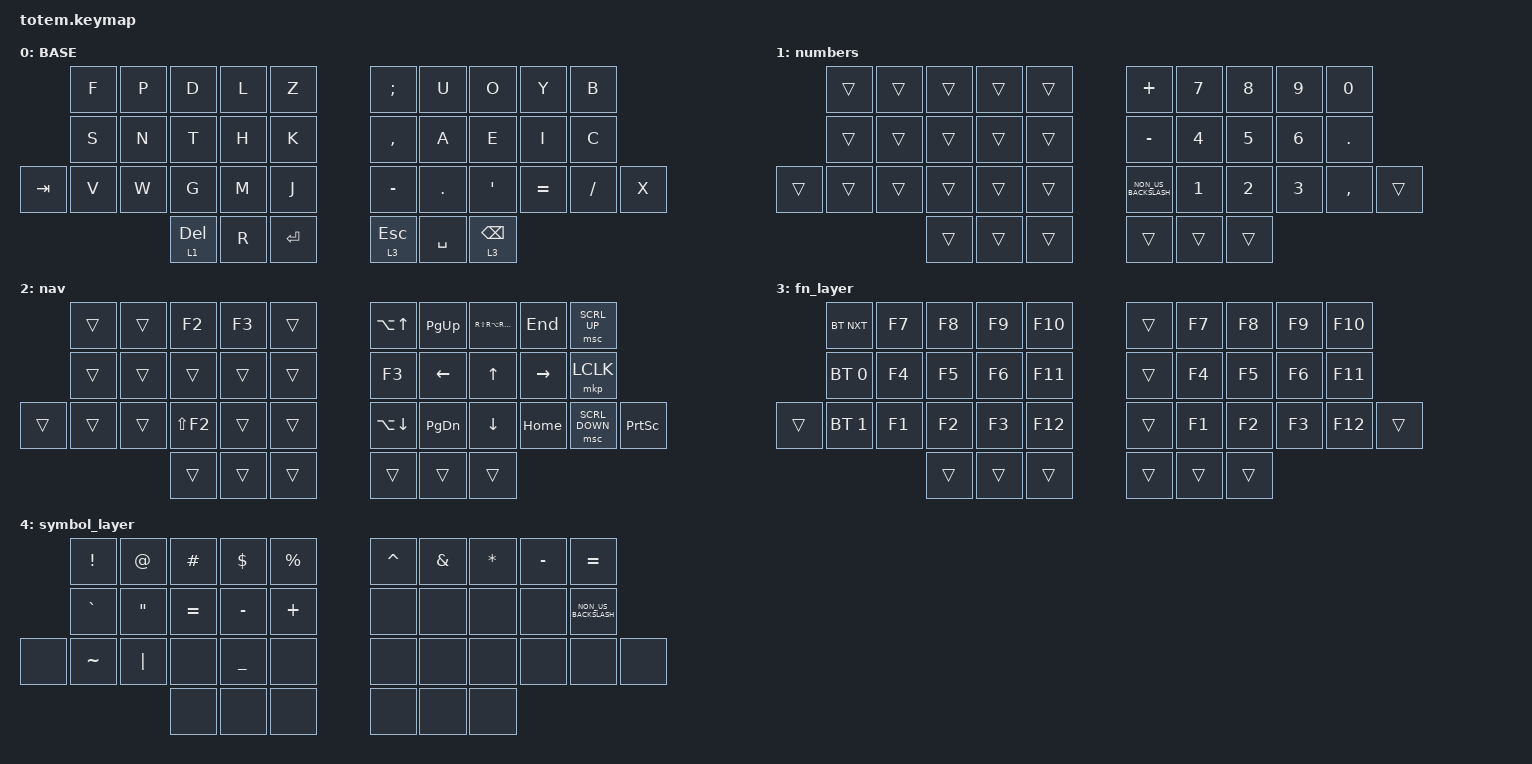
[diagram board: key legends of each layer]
//
//                                                        ▀▀▀▀▀     ▀▀▀▀▀          ▀▀█▀▀
//                                                        ▄▀▀▀▄  ▄  ▄▀▀▀▄  ▄  ▄▀▀▀▄  █  ▄▀▀▀▄
//                                                        █   █  █  █   █  █  █   █  █  █   █
//                                                         ▀▀▀   █   ▀▀▀   █   ▀▀▀   ▀   ▀▀▀
//                                                               █      ▄▄▄█▄▄▄    █   █  
//                                                               ▀      █  █  █     █▄█
//                                                             ▀▀▀▀▀    █  █  █      ▀
//                                                                      ▀  ▀  ▀
//
// ▄▄▄▄▄▄▄▄▄▄▄▄▄▄▄▄▄▄▄▄▄▄▄▄▄▄▄▄▄▄▄▄▄▄▄▄▄▄▄▄▄▄▄▄▄▄▄▄▄▄▄▄▄▄▄▄▄▄▄▄▄▄▄▄▄▄▄▄▄▄▄▄▄▄▄▄▄▄▄▄▄▄▄▄▄▄▄▄▄▄▄▄▄▄▄▄▄▄▄▄▄▄▄▄▄▄▄▄▄▄▄▄▄▄▄▄▄▄▄▄▄▄▄▄▄▄▄▄▄▄▄▄▄▄▄▄▄▄▄▄▄▄▄▄▄▄▄▄▄
// LGUI -> COMMAND
// LALT -> OPTION

#include <behaviors.dtsi>
#include <dt-bindings/zmk/bt.h>
#include <dt-bindings/zmk/keys.h>
#include <dt-bindings/zmk/pointing.h>
#include <dt-bindings/zmk/pointing.h>

#define BASE 0
#define NAV  1
#define SYM  2
#define ADJ  3
#define TVP1 4
#define TVP2 5
#define ZMK_POINTING_DEFAULT_SCRL_VAL 20

&mt {
    quick-tap-ms = <175>;
    global-quick-tap;
    flavor = "balanced";
    tapping-term-ms = <280>;
    require-prior-idle-ms = <150>;
};

/ {
    combos {
        compatible = "zmk,combos";

        left_parenthesis {
            bindings = <&l_par_r>;
            key-positions = <6 16>;
            layers = <0>;
        };

        right_parenthesis {
            bindings = <&kp SQT>;
            key-positions = <8 18>;
            layers = <0>;
        };

        left_bracket {
            bindings = <&l_brace_r>;
            key-positions = <16 27>;
            layers = <0>;
        };

        right_bracket {
            bindings = <&l_bracket_r>;
            key-positions = <18 29>;
            layers = <0>;
        };

        underscore {
            bindings = <&kp MINUS>;
            key-positions = <9 19>;
            layers = <0>;
        };

        or_char {
            bindings = <&kp EQUAL>;
            key-positions = <17 28>;
            layers = <0 1>;
        };

        at_sign {
            bindings = <&kp AT_SIGN>;
            key-positions = <1 11>;
            layers = <0>;
        };

        exclamation {
            bindings = <&kp EXCLAMATION>;
            key-positions = <0 10>;
            layers = <0>;
        };

        hash {
            bindings = <&kp HASH>;
            key-positions = <2 12>;
            layers = <0>;
        };

        dollar {
            bindings = <&kp DOLLAR>;
            key-positions = <3 13>;
            layers = <0>;
        };

        percent {
            bindings = <&kp PERCENT>;
            key-positions = <4 14>;
            layers = <0>;
        };

        copy {
            bindings = <&kp LG(C)>;
            key-positions = <12 23>;
            layers = <0>;
        };

        paste {
            bindings = <&kp LG(V)>;
            key-positions = <13 24>;
            layers = <0>;
        };

        star {
            bindings = <&kp STAR>;
            key-positions = <7 17>;
            layers = <0 1>;
        };

        idea_sequence {
            bindings = <&kp RS(RA(RC(RG(F))))>;
            key-positions = <16 17 18>;
        };

        undo {
            bindings = <&kp LG(Z)>;
            key-positions = <11 22>;
            layers = <0>;
        };

        idea_search {
            bindings = <&kp RS(RA(RC(RG(L))))>;
            key-positions = <13 12 11>;
        };
    };

    behaviors {
        l_par_r: l_par_r {
            compatible = "zmk,behavior-mod-morph";
            label = "L_PAR_R";
            bindings = <&kp LEFT_PARENTHESIS>, <&kp RIGHT_PARENTHESIS>;

            #binding-cells = <0>;
            mods = <(MOD_LSFT)>;
        };

        l_brace_r: l_brace_r {
            compatible = "zmk,behavior-mod-morph";
            label = "L_BRACE_R";
            bindings = <&kp LEFT_BRACE>, <&kp RIGHT_BRACE>;

            #binding-cells = <0>;
            mods = <(MOD_LSFT)>;
        };

        l_bracket_r: l_bracket_r {
            compatible = "zmk,behavior-mod-morph";
            label = "L_BRACKET_R";
            bindings = <&kp LEFT_BRACKET>, <&kp RIGHT_BRACKET>;

            #binding-cells = <0>;
            mods = <(MOD_LSFT)>;
        };
    };

    keymap {
        compatible = "zmk,keymap";

        // ▄▄▄▄▄▄▄▄▄▄▄▄▄▄▄▄▄▄▄▄▄▄▄▄▄▄▄▄▄▄▄▄▄▄▄▄▄▄▄▄▄▄▄▄▄▄▄▄▄▄▄▄▄▄▄▄▄▄▄▄▄▄▄▄▄▄▄▄▄▄▄▄▄▄▄▄▄▄▄▄▄▄▄▄▄▄▄▄▄▄▄▄▄▄▄▄▄▄▄▄▄▄▄▄▄▄▄▄▄▄▄▄▄▄▄▄▄▄▄▄▄▄▄▄▄▄▄▄▄▄▄▄▄▄▄▄▄▄▄▄▄▄▄▄▄▄▄▄▄

        base_layer {
            // ┏━━━━━━━━━━━━━━━━━━━━━━━━━━━━━━━━━━━━━━━┓

            label = "BASE";

            // ┗━━━━━━━━━━━━━━━━━━━━━━━━━━━━━━━━━━━━━━━┛
            //             ┏━━━━━━━━━━━┳━━━━━━━━━━━┳━━━━━━━━━━━┳━━━━━━━━━━━┳━━━━━━━━━━━┓   ┏━━━━━━━━━━━┳━━━━━━━━━━━┳━━━━━━━━━━━┳━━━━━━━━━━━┳━━━━━━━━━━━┓
            //             ┃     Q     ┃     W     ┃     E     ┃     R     ┃     T     ┃   ┃     Y     ┃     U     ┃     I     ┃     O     ┃     P     ┃
            //             ┣━━━━━━━━━━━╋━━━━━━━━━━━╋━━━━━━━━━━━╋━━━━━━━━━━━╋━━━━━━━━━━━┫   ┣━━━━━━━━━━━╋━━━━━━━━━━━╋━━━━━━━━━━━╋━━━━━━━━━━━╋━━━━━━━━━━━┫
            //             ┃     A     ┃     S     ┃     D     ┃     F     ┃     G     ┃   ┃     H     ┃     J     ┃     K     ┃     L     ┃     ;     ┃
            // ┏━━━━━━━━━━━╋━━━━━━━━━━━╋━━━━━━━━━━━╋━━━━━━━━━━━╋━━━━━━━━━━━╋━━━━━━━━━━━┫   ┣━━━━━━━━━━━╋━━━━━━━━━━━╋━━━━━━━━━━━╋━━━━━━━━━━━╋━━━━━━━━━━━╋━━━━━━━━━━━┓
            // ┃     Q     ┃     Z     ┃     X     ┃     C     ┃     V     ┃     B     ┃   ┃     N     ┃     M     ┃     ,     ┃     .     ┃     /     ┃     \     ┃
            // ┗━━━━━━━━━━━┻━━━━━━━━━━━┻━━━━━━━━━━━╋━━━━━━━━━━━╋━━━━━━━━━━━╋━━━━━━━━━━━┫   ┣━━━━━━━━━━━╋━━━━━━━━━━━╋━━━━━━━━━━━╋━━━━━━━━━━━┻━━━━━━━━━━━┻━━━━━━━━━━━┛
            //                                     ┃    DEL    ┃    TAB    ┃    SPC    ┃   ┃   ENTER   ┃    ESC    ┃   BSPC    ┃
            //                                     ┗━━━━━━━━━━━┻━━━━━━━━━━━┻━━━━━━━━━━━┛   ┗━━━━━━━━━━━┻━━━━━━━━━━━┻━━━━━━━━━━━┛

            bindings = <
         &kp F  &kp P  &kp D      &kp L  &kp Z      &kp SEMI      &kp U      &kp O            &kp Y      &kp B
         &kp S  &kp N  &kp T      &kp H  &kp K      &kp COMMA     &kp A      &kp E            &kp I      &kp C
&kp TAB  &kp V  &kp W  &kp G      &kp M  &kp J      &kp MINUS     &kp DOT    &kp SQT          &kp EQUAL  &kp FSLH  &kp X
                       &lt 1 DEL  &kp R  &kp RET    &lt 3 ESCAPE  &kp SPACE  &lt 3 BACKSPACE
            >;
        };

        numbers {
            bindings = <
        &trans  &trans  &trans  &trans  &trans    &kp PLUS              &kp N7  &kp N8  &kp N9  &kp N0
        &trans  &trans  &trans  &trans  &trans    &kp MINUS             &kp N4  &kp N5  &kp N6  &kp PERIOD
&trans  &trans  &trans  &trans  &trans  &trans    &kp NON_US_BACKSLASH  &kp N1  &kp N2  &kp N3  &kp COMMA   &trans
                        &trans  &trans  &trans    &trans                &trans  &trans
            >;
        };

        nav {
            bindings = <
        &trans  &trans  &kp F2      &kp F3  &trans    &kp LA(UP_ARROW)    &kp PAGE_UP    &kp RS(RA(RG(RC(L))))  &kp END          &msc SCRL_UP
        &trans  &trans  &trans      &trans  &trans    &kp F3              &kp LEFT       &kp UP_ARROW           &kp RIGHT_ARROW  &mkp LCLK
&trans  &trans  &trans  &kp LS(F2)  &trans  &trans    &kp LA(DOWN_ARROW)  &kp PAGE_DOWN  &kp DOWN_ARROW         &kp HOME         &msc SCRL_DOWN  &kp PRINTSCREEN
                        &trans      &trans  &trans    &trans              &trans         &trans
            >;
        };

        fn_layer {
            bindings = <
        &bt BT_NXT    &kp F7  &kp F8  &kp F9  &kp F10    &trans  &kp F7  &kp F8  &kp F9  &kp F10
        &bt BT_SEL 0  &kp F4  &kp F5  &kp F6  &kp F11    &trans  &kp F4  &kp F5  &kp F6  &kp F11
&trans  &bt BT_SEL 1  &kp F1  &kp F2  &kp F3  &kp F12    &trans  &kp F1  &kp F2  &kp F3  &kp F12  &trans
                              &trans  &trans  &trans     &trans  &trans  &trans
            >;
        };

        symbol_layer {
            bindings = <
       &kp EXCLAMATION  &kp AT             &kp HASH   &kp DOLLAR      &kp PERCENT    &kp CARET  &kp AMPERSAND  &kp STAR  &kp MINUS  &kp EQUAL
       &kp GRAVE        &kp DOUBLE_QUOTES  &kp EQUAL  &kp MINUS       &kp PLUS       &none      &none          &none     &none      &kp NON_US_BACKSLASH
&none  &kp TILDE        &kp PIPE           &none      &kp UNDERSCORE  &none          &none      &none          &none     &none      &none                 &none
                                           &none      &none           &none          &none      &none          &none
            >;
        };
    };
};
